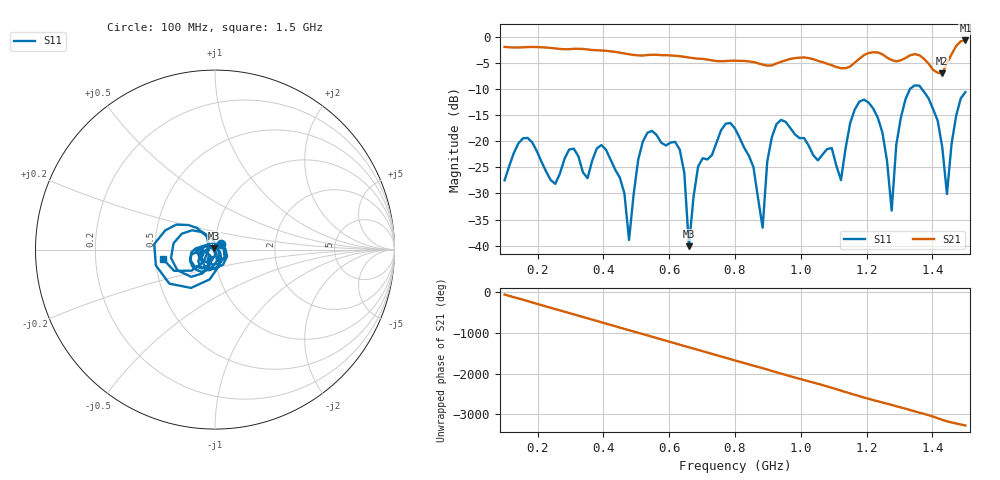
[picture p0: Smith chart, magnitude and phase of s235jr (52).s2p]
! NanoVNA-App
! Date: 2025-09-25 15:04:34
! Start: 100MHz Stop: 1,5GHz Points: 101
! S-Parameter data: F S11 S21 S12 S22
# Hz S RI R 50
!  Frequency  S11_Real  S11_Imag  S21_Real  S21_Imag  S12_Real  S12_Imag  S22_Real  S22_Imag
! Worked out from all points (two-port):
!   101 points, 100 MHz to 1.5 GHz, reference 50 ohm
!   highest |S21| = -0.73 dB at 1.5 GHz (marker M1); lowest = -7.0 dB at 1.43 GHz (marker M2)
!   |S21| within 3 dB of the highest: start of sweep to 631.3 MHz; 1.188 GHz to 1.256 GHz (67.8 MHz wide, 5.55 % of centre) (the widest 2 of 4)
!   lowest |S11| = -40.1 dB at 660 MHz (marker M3), VSWR 1.02, Z = 49.3 + j0.656 ohm
!   |S11| at or under -10 dB: start of sweep to 1.332 GHz; 1.368 GHz to end of sweep
!   S12 and S22 are empty: the file has one direction only
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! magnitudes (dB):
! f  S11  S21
! 100 MHz  -27.5  -2.0
! 156 MHz  -19.4  -2.0
! 338 MHz  -26.0  -2.4
! 408 MHz  -21.6  -2.7
! 478 MHz  -38.9  -3.4
! 520 MHz  -20.1  -3.6
! 576 MHz  -20.3  -3.5
! 632 MHz  -21.6  -3.7
! 660 MHz  -40.1  -4.0
! 688 MHz  -24.8  -4.2
! 800 MHz  -17.6  -4.6
! 884 MHz  -36.6  -5.4
! 926 MHz  -16.7  -5.1
! 1.038 GHz  -22.7  -4.3
! 1.122 GHz  -27.4  -6.0
! 1.206 GHz  -12.6  -3.1
! 1.276 GHz  -33.3  -4.5
! 1.29 GHz  -20.7  -4.7
! 1.332 GHz  -10.0  -3.6
! 1.43 GHz  -21.3  -7.0
! 1.444 GHz  -30.1  -5.1
! 1.5 GHz  -10.6  -0.7
